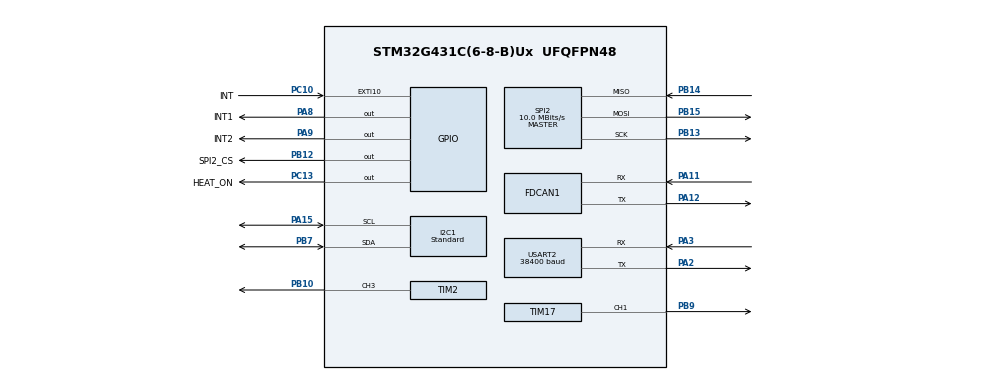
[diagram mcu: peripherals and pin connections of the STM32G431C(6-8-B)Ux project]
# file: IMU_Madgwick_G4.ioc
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Dma.Request0=USART2_TX
Dma.Request1=TIM2_CH3
Dma.TIM2_CH3.1.Direction=DMA_MEMORY_TO_PERIPH
Dma.TIM2_CH3.1.EventEnable=DISABLE
Dma.TIM2_CH3.1.Instance=DMA1_Channel1
Dma.TIM2_CH3.1.MemDataAlignment=DMA_MDATAALIGN_WORD
Dma.TIM2_CH3.1.MemInc=DMA_MINC_ENABLE
Dma.TIM2_CH3.1.Mode=DMA_CIRCULAR
Dma.TIM2_CH3.1.PeriphDataAlignment=DMA_PDATAALIGN_WORD
Dma.TIM2_CH3.1.PeriphInc=DMA_PINC_DISABLE
Dma.TIM2_CH3.1.Polarity=HAL_DMAMUX_REQ_GEN_RISING
Dma.TIM2_CH3.1.Priority=DMA_PRIORITY_MEDIUM
Dma.TIM2_CH3.1.RequestNumber=1
Dma.TIM2_CH3.1.SignalID=NONE
Dma.TIM2_CH3.1.SyncEnable=DISABLE
Dma.TIM2_CH3.1.SyncPolarity=HAL_DMAMUX_SYNC_NO_EVENT
Dma.TIM2_CH3.1.SyncRequestNumber=1
Dma.TIM2_CH3.1.SyncSignalID=NONE
Dma.USART2_TX.0.Direction=DMA_MEMORY_TO_PERIPH
Dma.USART2_TX.0.EventEnable=DISABLE
Dma.USART2_TX.0.Instance=DMA1_Channel2
Dma.USART2_TX.0.MemDataAlignment=DMA_MDATAALIGN_BYTE
Dma.USART2_TX.0.MemInc=DMA_MINC_ENABLE
Dma.USART2_TX.0.Mode=DMA_NORMAL
Dma.USART2_TX.0.PeriphDataAlignment=DMA_PDATAALIGN_BYTE
Dma.USART2_TX.0.PeriphInc=DMA_PINC_DISABLE
Dma.USART2_TX.0.Polarity=HAL_DMAMUX_REQ_GEN_RISING
Dma.USART2_TX.0.Priority=DMA_PRIORITY_LOW
Dma.USART2_TX.0.RequestNumber=1
Dma.USART2_TX.0.SignalID=NONE
Dma.USART2_TX.0.SyncEnable=DISABLE
Dma.USART2_TX.0.SyncPolarity=HAL_DMAMUX_SYNC_NO_EVENT
Dma.USART2_TX.0.SyncRequestNumber=1
Dma.USART2_TX.0.SyncSignalID=NONE
FDCAN1.ClockDivider=FDCAN_CLOCK_DIV20
FDCAN1.NominalSyncJumpWidth=8
FDCAN1.NominalTimeSeg1=5
I2C1.I2C_Speed_Mode=I2C_Standard
I2C1.Timing=0x30909DEC
Mcu.Family=STM32G4
Mcu.Name=STM32G431C(6-8-B)Ux
Mcu.Package=UFQFPN48
NVIC.DMA1_Channel1_IRQn=true\:0\:0\:false\:false\:true\:false\:true\:true
NVIC.DMA1_Channel2_IRQn=true\:0\:0\:false\:false\:true\:false\:true\:true
NVIC.EXTI15_10_IRQn=true\:0\:0\:true\:false\:true\:true\:true\:true
NVIC.PriorityGroup=NVIC_PRIORITYGROUP_4
NVIC.TIM1_UP_TIM16_IRQn=true\:0\:0\:false\:false\:true\:true\:true\:true
NVIC.TIM6_DAC_IRQn=true\:2\:0\:true\:false\:true\:true\:true\:true
NVIC.TIM7_IRQn=true\:3\:0\:true\:false\:true\:true\:true\:true
NVIC.USART2_IRQn=true\:2\:0\:true\:false\:true\:true\:true\:true
PA11.GPIO_Speed=GPIO_SPEED_FREQ_HIGH
PA11.Mode=FDCAN_Activate
PA11.Signal=FDCAN1_RX
PA12.GPIO_Speed=GPIO_SPEED_FREQ_HIGH
PA12.Mode=FDCAN_Activate
PA12.Signal=FDCAN1_TX
PA13.Mode=Serial_Wire
PA13.Signal=SYS_JTMS-SWDIO
PA14.Mode=Serial_Wire
PA14.Signal=SYS_JTCK-SWCLK
PA15.GPIO_Speed=GPIO_SPEED_FREQ_HIGH
PA15.Mode=I2C
PA15.Signal=I2C1_SCL
PA2.Mode=Asynchronous
PA2.Signal=USART2_TX
PA3.Mode=Asynchronous
PA3.Signal=USART2_RX
PA8.GPIO_Label=INT1
PA8.GPIO_Speed=GPIO_SPEED_FREQ_MEDIUM
PA8.Signal=GPIO_Output
PA9.GPIO_Label=INT2
PA9.GPIO_Speed=GPIO_SPEED_FREQ_MEDIUM
PA9.Signal=GPIO_Output
PB10.GPIO_PuPd=GPIO_NOPULL
PB10.GPIO_Speed=GPIO_SPEED_FREQ_LOW
PB10.Signal=S_TIM2_CH3
PB12.GPIO_Label=SPI2_CS
PB12.GPIO_PuPd=GPIO_PULLUP
PB12.GPIO_Speed=GPIO_SPEED_FREQ_HIGH
PB12.Signal=GPIO_Output
PB13.Mode=Full_Duplex_Master
PB13.Signal=SPI2_SCK
PB14.Mode=Full_Duplex_Master
PB14.Signal=SPI2_MISO
PB15.Mode=Full_Duplex_Master
PB15.Signal=SPI2_MOSI
PB7.GPIO_Speed=GPIO_SPEED_FREQ_HIGH
PB7.Mode=I2C
PB7.Signal=I2C1_SDA
PB9.Signal=S_TIM17_CH1
PC10.GPIO_Label=INT
PC10.GPIO_PuPd=GPIO_PULLDOWN
PC10.Signal=GPXTI10
PC13.GPIO_Label=HEAT_ON
PC13.GPIO_PuPd=GPIO_PULLUP
PC13.Signal=GPIO_Output
PF0-OSC_IN.Mode=HSE-External-Oscillator
PF0-OSC_IN.Signal=RCC_OSC_IN
PF1-OSC_OUT.Mode=HSE-External-Oscillator
PF1-OSC_OUT.Signal=RCC_OSC_OUT
ProjectManager.HeapSize=0x200
ProjectManager.StackSize=0x400
ProjectManager.TargetToolchain=MDK-ARM V5.32
RCC.ADC12Freq_Value=160000000
RCC.AHBFreq_Value=160000000
RCC.APB1Freq_Value=160000000
RCC.APB1TimFreq_Value=160000000
RCC.APB2Freq_Value=160000000
RCC.APB2TimFreq_Value=160000000
RCC.CortexFreq_Value=160000000
RCC.EXTERNAL_CLOCK_VALUE=12288000
RCC.HCLKFreq_Value=160000000
RCC.HSE_VALUE=8000000
RCC.HSI48_VALUE=48000000
RCC.HSI_VALUE=16000000
RCC.LSE_VALUE=32768
RCC.PLLN=40
RCC.PLLSourceVirtual=RCC_PLLSOURCE_HSE
RCC.SYSCLKFreq_VALUE=160000000
RCC.SYSCLKSource=RCC_SYSCLKSOURCE_PLLCLK
RCC.USBFreq_Value=160000000
RCC.VCOOutputFreq_Value=320000000
SH.S_TIM17_CH1.0=TIM17_CH1,PWM Generation1 CH1
SH.S_TIM2_CH3.0=TIM2_CH3,PWM Generation3 CH3
SPI2.BaudRatePrescaler=SPI_BAUDRATEPRESCALER_16
SPI2.CLKPolarity=SPI_POLARITY_LOW
SPI2.CalculateBaudRate=10.0 MBits/s
SPI2.DataSize=SPI_DATASIZE_8BIT
SPI2.Direction=SPI_DIRECTION_2LINES
SPI2.Mode=SPI_MODE_MASTER
SPI2.VirtualType=VM_MASTER
TIM16.PeriodNoDither=999
TIM16.Prescaler=24
TIM17.Channel=TIM_CHANNEL_1
TIM17.PeriodNoDither=9999
TIM17.Prescaler=159
TIM2.Channel-PWM\ Generation3\ CH3=TIM_CHANNEL_3
TIM2.PeriodNoDither=199
TIM6.PeriodNoDither=999
TIM6.Prescaler=15
TIM7.PeriodNoDither=999
TIM7.Prescaler=159
USART2.BaudRate=38400
USART2.VirtualMode-Asynchronous=VM_ASYNC
VP_SYS_VS_DBSignals.Mode=DisableDeadBatterySignals
VP_TIM16_VS_ClockSourceINT.Mode=Enable_Timer
VP_TIM17_VS_ClockSourceINT.Mode=Enable_Timer
VP_TIM6_VS_ClockSourceINT.Mode=Enable_Timer
VP_TIM7_VS_ClockSourceINT.Mode=Enable_Timer
board=custom

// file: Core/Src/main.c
/* USER CODE BEGIN Header */
/**
  ******************************************************************************
  * @file           : main.c
  * @brief          : Main program body
  ******************************************************************************
  * @attention
  *
  * Copyright (c) 2023 STMicroelectronics.
  * All rights reserved.
  *
  * This software is licensed under terms that can be found in the LICENSE file
  * in the root directory of this software component.
  * If no LICENSE file comes with this software, it is provided AS-IS.
  *
  ******************************************************************************
  */
/* USER CODE END Header */
#include "main.h"
#include "dma.h"
#include "fdcan.h"
#include "i2c.h"
#include "spi.h"
#include "tim.h"
#include "usart.h"
#include "gpio.h"

/* USER CODE BEGIN Includes */
#include "Fusion.h"
#include "Magic.h"
#include "Temp.h"
#include "ws2812.h"
#include "bsp_fdcan.h"
#include "MMC5983MA.h"
/* USER CODE END Includes */

void SystemClock_Config(void);

int main(void)
{

  /* MCU Configuration--------------------------------------------------------*/

  /* Reset of all peripherals, Initializes the Flash interface and the Systick. */
  HAL_Init();

  /* Configure the system clock */
  SystemClock_Config();

  /* Initialize all configured peripherals */
  MX_GPIO_Init();
  MX_DMA_Init();
  MX_FDCAN1_Init();
  MX_I2C1_Init();
  MX_SPI2_Init();
  MX_TIM16_Init();
  MX_TIM17_Init();
  MX_TIM2_Init();
  MX_TIM6_Init();
  MX_TIM7_Init();
  MX_USART2_UART_Init();
  /* USER CODE BEGIN 2 */
	// Important Note: Be sure to Init DMA first, otherwise WS2812 will not work!

	led_init();
	FDCAN_Config();
	IMU_Connection_Check();
	MMC5983MA_Check();
	Temp_Init();

	/** Interrupt Allocation and Enable
	* TIM6 		- Communication Clock 10000 Hz
	* --------- Frame Interval 2000 Hz for CAN, 200 Hz for UART and 10 Hz for WS2812
	* TIM7 		- 1000 Hz Temperature PID controller
	* TIM16 	- ICM42688 MAF and Madgwick Filter Clock, 6400 Hz
	* EXTI10 	- 50 Hz external Data Ready interrupt to extract data from magnetometer MMC5983MA
	*/
	LL_TIM_EnableIT_UPDATE(TIM6);		//Enable Interrupt for TIM6
	LL_TIM_EnableIT_UPDATE(TIM7);		//Enable Interrupt for TIM7
	LL_TIM_EnableIT_UPDATE(TIM16);	//Enable Interrupt for TIM16

  /* USER CODE END 2 */

  /* Infinite loop */
  while (1)
  {

    /* USER CODE BEGIN 3 */
		Fixed_Time_UART2();
  }
  /* USER CODE END 3 */
}

void SystemClock_Config(void)
{
  LL_FLASH_SetLatency(LL_FLASH_LATENCY_4);
  while(LL_FLASH_GetLatency() != LL_FLASH_LATENCY_4)
  {
  }
  LL_PWR_EnableRange1BoostMode();
  LL_RCC_HSE_Enable();
   /* Wait till HSE is ready */
  while(LL_RCC_HSE_IsReady() != 1)
  {
  }

  LL_RCC_PLL_ConfigDomain_SYS(LL_RCC_PLLSOURCE_HSE, LL_RCC_PLLM_DIV_1, 40, LL_RCC_PLLR_DIV_2);
  LL_RCC_PLL_EnableDomain_SYS();
  LL_RCC_PLL_Enable();
   /* Wait till PLL is ready */
  while(LL_RCC_PLL_IsReady() != 1)
  {
  }

  LL_RCC_SetSysClkSource(LL_RCC_SYS_CLKSOURCE_PLL);
  LL_RCC_SetAHBPrescaler(LL_RCC_SYSCLK_DIV_2);
   /* Wait till System clock is ready */
  while(LL_RCC_GetSysClkSource() != LL_RCC_SYS_CLKSOURCE_STATUS_PLL)
  {
  }

  /* Insure 1?s transition state at intermediate medium speed clock based on DWT */
  CoreDebug->DEMCR |= CoreDebug_DEMCR_TRCENA_Msk;
  DWT->CTRL |= DWT_CTRL_CYCCNTENA_Msk;
  DWT->CYCCNT = 0;
  while(DWT->CYCCNT < 100);
  /* Set AHB prescaler*/
  LL_RCC_SetAHBPrescaler(LL_RCC_SYSCLK_DIV_1);
  LL_RCC_SetAPB1Prescaler(LL_RCC_APB1_DIV_1);
  LL_RCC_SetAPB2Prescaler(LL_RCC_APB2_DIV_1);
  LL_SetSystemCoreClock(160000000);

   /* Update the time base */
  if (HAL_InitTick (TICK_INT_PRIORITY) != HAL_OK)
  {
    Error_Handler();
  }
}

void Error_Handler(void)
{
  __disable_irq();
  while (1)
  {
  }
}
